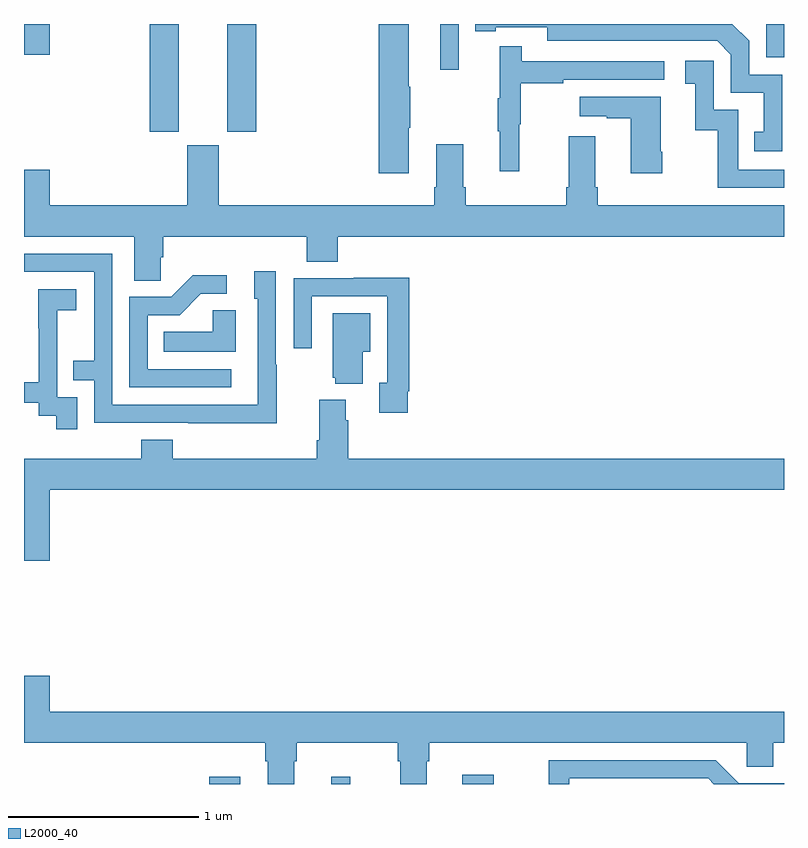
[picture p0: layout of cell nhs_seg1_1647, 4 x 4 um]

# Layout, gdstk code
import gdstk
lib = gdstk.Library(unit=1e-6, precision=1e-09)
def R(c, l, rs):  # rectangles x0, y0, x1, y1
    for r in rs: c.add(gdstk.rectangle(r[:2], r[2:], *l))
def P(c, l, *ps):  # polygons
    for p in ps: c.add(gdstk.Polygon(p, *l))
L2000_40 = (2000, 40)

nhs_seg1_1647 = lib.new_cell('nhs_seg1_1647')
R(nhs_seg1_1647, L2000_40, [(201.974,534.199,202.138,534.238), (202.616,534.199,202.718,534.238), (203.306,534.199,203.472,534.247), (201.662,537.633,201.814,538.199), (202.07,537.633,202.223,538.199), (203.192,537.957,203.289,538.199), (204.906,538.023,205,538.199), (201,538.038,201.136,538.199)])
P(nhs_seg1_1647, L2000_40, [(204.99,537.933),(204.816,537.933),(204.816,538.11),(204.727,538.199),(203.374,538.199),(203.374,538.162),(203.482,538.162),(203.482,538.182),(203.754,538.182),(203.754,538.11),(204.648,538.11),(204.72,538.038),(204.72,537.837),(204.893,537.837),(204.893,537.633),(204.844,537.633),(204.844,537.528),(204.99,537.528)],
  [(203.026,537.652),(203.034,537.652),(203.034,537.869),(203.026,537.869),(203.026,538.199),(202.868,538.199),(202.868,537.414),(203.026,537.414)],
  [(203.606,537.672),(203.614,537.672),(203.614,537.886),(203.837,537.886),(203.837,537.906),(204.37,537.906),(204.37,538.002),(203.621,538.002),(203.621,538.081),(203.504,538.081),(203.504,537.809),(203.493,537.809),(203.493,537.635),(203.504,537.635),(203.504,537.423),(203.606,537.423)],
  [(205,537.432),(204.759,537.432),(204.759,537.747),(204.63,537.747),(204.63,538.006),(204.48,538.006),(204.48,537.885),(204.533,537.885),(204.533,537.639),(204.651,537.639),(204.651,537.336),(205,537.336)],
  [(204.36,537.526),(204.352,537.526),(204.352,537.817),(203.925,537.817),(203.925,537.713),(204.068,537.713),(204.068,537.703),(204.194,537.703),(204.194,537.414),(204.36,537.414)],
  [(202.487,536.947),(202.652,536.947),(202.652,537.08),(205,537.08),(205,537.244),(204.02,537.244),(204.02,537.34),(204.007,537.34),(204.007,537.607),(203.867,537.607),(203.867,537.34),(203.855,537.34),(203.855,537.244),(203.324,537.244),(203.324,537.34),(203.311,537.34),(203.311,537.565),(203.171,537.565),(203.171,537.34),(203.159,537.34),(203.159,537.244),(202.024,537.244),(202.024,537.561),(201.86,537.561),(201.86,537.244),(201.136,537.244),(201.136,537.433),(201,537.433),(201,537.08),(201.581,537.08),(201.581,536.848),(201.72,536.848),(201.72,536.971),(201.734,536.971),(201.734,537.08),(202.487,537.08)],
  [(202.329,536.405),(202.326,536.405),(202.326,536.899),(202.211,536.899),(202.211,536.754),(202.23,536.754),(202.23,536.196),(201.465,536.196),(201.465,536.991),(201,536.991),(201,536.895),(201.369,536.895),(201.369,536.426),(201.259,536.426),(201.259,536.325),(201.369,536.325),(201.369,536.1),(201.865,536.1),(201.865,536.099),(202.329,536.099)],
  [(202.09,536.382),(201.651,536.382),(201.651,536.667),(201.82,536.667),(201.931,536.778),(202.066,536.778),(202.066,536.876),(201.887,536.876),(201.774,536.763),(201.555,536.763),(201.555,536.286),(202.09,536.286)],
  [(203.02,536.266),(203.027,536.266),(203.027,536.864),(202.735,536.864),(202.735,536.862),(202.419,536.862),(202.419,536.493),(202.515,536.493),(202.515,536.766),(202.911,536.766),(202.911,536.31),(202.871,536.31),(202.871,536.154),(203.02,536.154)],
  [(201.279,536.235),(201.174,536.235),(201.174,536.465),(201.176,536.465),(201.176,536.693),(201.274,536.693),(201.274,536.803),(201.076,536.803),(201.076,536.597),(201.077,536.597),(201.077,536.314),(201,536.314),(201,536.205),(201.078,536.205),(201.078,536.137),(201.171,536.137),(201.171,536.067),(201.279,536.067)],
  [(202.114,536.693),(201.993,536.693),(201.993,536.578),(201.736,536.578),(201.736,536.474),(202.114,536.474)],
  [(202.783,536.474),(202.822,536.474),(202.822,536.677),(202.625,536.677),(202.625,536.337),(202.637,536.337),(202.637,536.306),(202.783,536.306)],
  [(201.136,535.748),(205,535.748),(205,535.912),(202.706,535.912),(202.706,536.114),(202.693,536.114),(202.693,536.221),(202.553,536.221),(202.553,536.008),(202.541,536.008),(202.541,535.912),(201.782,535.912),(201.782,536.011),(201.617,536.011),(201.617,535.912),(201,535.912),(201,535.374),(201.136,535.374)],
  [(202.423,534.32),(202.436,534.32),(202.436,534.416),(202.967,534.416),(202.967,534.32),(202.979,534.32),(202.979,534.199),(203.119,534.199),(203.119,534.32),(203.132,534.32),(203.132,534.416),(204.804,534.416),(204.804,534.289),(204.943,534.289),(204.943,534.416),(205,534.416),(205,534.58),(201.136,534.58),(201.136,534.769),(201,534.769),(201,534.416),(202.271,534.416),(202.271,534.32),(202.283,534.32),(202.283,534.199),(202.423,534.199)],
  [(203.871,534.228),(204.6,534.228),(204.629,534.199),(205,534.199),(205,534.204),(204.762,534.204),(204.642,534.324),(203.763,534.324),(203.763,534.199),(203.871,534.199)])

lib.write_gds('nhs_seg1_1647.gds')
